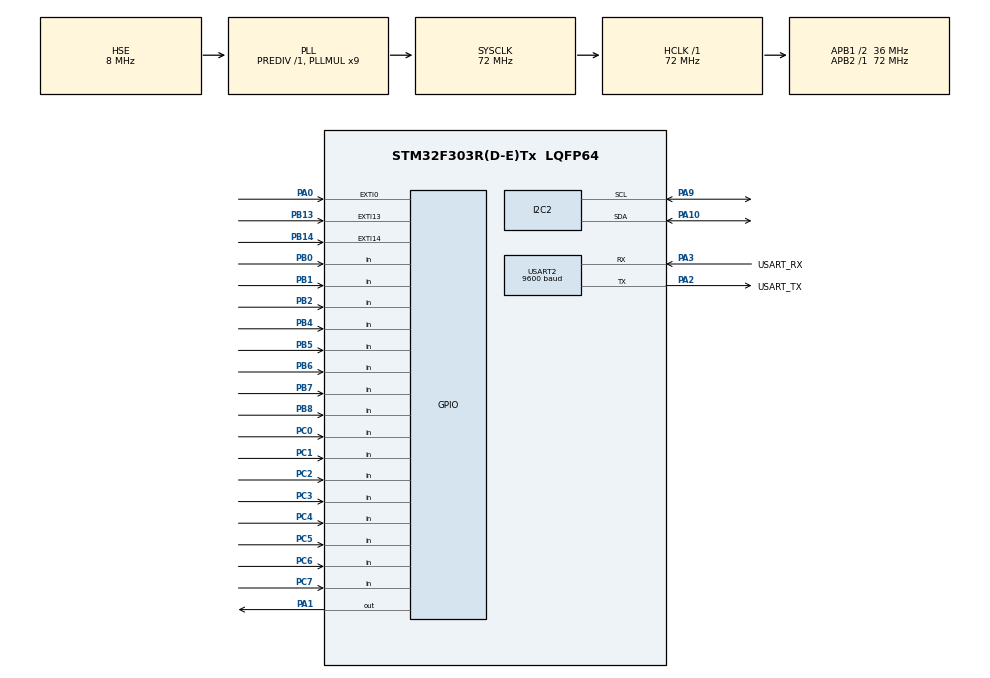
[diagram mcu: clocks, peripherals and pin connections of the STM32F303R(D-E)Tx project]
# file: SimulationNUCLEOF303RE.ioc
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Mcu.Family=STM32F3
Mcu.Name=STM32F303R(D-E)Tx
Mcu.Package=LQFP64
NVIC.EXTI0_IRQn=true\:0\:0\:false\:false\:true\:true\:true\:true
NVIC.PriorityGroup=NVIC_PRIORITYGROUP_4
PA0.Signal=GPXTI0
PA1.Signal=GPIO_Output
PA10.Mode=I2C
PA10.Signal=I2C2_SDA
PA13.GPIO_Label=TMS
PA13.Signal=SYS_JTMS-SWDIO
PA14.GPIO_Label=TCK
PA14.Signal=SYS_JTCK-SWCLK
PA2.GPIO_Label=USART_TX
PA2.GPIO_Mode=GPIO_MODE_AF_PP
PA2.GPIO_ModeDefaultPP=GPIO_MODE_AF_PP
PA2.GPIO_PuPd=GPIO_NOPULL
PA2.GPIO_Speed=GPIO_SPEED_FREQ_LOW
PA2.Mode=Asynchronous
PA2.Signal=USART2_TX
PA3.GPIO_Label=USART_RX
PA3.GPIO_Mode=GPIO_MODE_AF_PP
PA3.GPIO_PuPd=GPIO_NOPULL
PA3.GPIO_Speed=GPIO_SPEED_FREQ_LOW
PA3.Mode=Asynchronous
PA3.Signal=USART2_RX
PA9.Mode=I2C
PA9.Signal=I2C2_SCL
PB0.GPIO_PuPd=GPIO_PULLDOWN
PB0.Signal=GPIO_Input
PB1.GPIO_PuPd=GPIO_PULLDOWN
PB1.Signal=GPIO_Input
PB13.Signal=GPXTI13
PB14.Signal=GPXTI14
PB2.GPIO_PuPd=GPIO_PULLDOWN
PB2.Signal=GPIO_Input
PB3.GPIO_Label=SWO
PB3.Signal=SYS_JTDO-TRACESWO
PB4.GPIO_PuPd=GPIO_PULLDOWN
PB4.Signal=GPIO_Input
PB5.GPIO_PuPd=GPIO_PULLDOWN
PB5.Signal=GPIO_Input
PB6.GPIO_PuPd=GPIO_PULLDOWN
PB6.Signal=GPIO_Input
PB7.GPIO_PuPd=GPIO_PULLDOWN
PB7.Signal=GPIO_Input
PB8.GPIO_PuPd=GPIO_PULLDOWN
PB8.Signal=GPIO_Input
PC0.Signal=GPIO_Input
PC1.Signal=GPIO_Input
PC14-OSC32_IN.Signal=RCC_OSC32_IN
PC15-OSC32_OUT.Signal=RCC_OSC32_OUT
PC2.Signal=GPIO_Input
PC3.Signal=GPIO_Input
PC4.Signal=GPIO_Input
PC5.Signal=GPIO_Input
PC6.Signal=GPIO_Input
PC7.Signal=GPIO_Input
PF0-OSC_IN.Mode=HSE-External-Oscillator
PF0-OSC_IN.Signal=RCC_OSC_IN
PF1-OSC_OUT.Mode=HSE-External-Oscillator
PF1-OSC_OUT.Signal=RCC_OSC_OUT
ProjectManager.HeapSize=0x200
ProjectManager.StackSize=0x400
ProjectManager.TargetToolchain=STM32CubeIDE
RCC.AHBFreq_Value=72000000
RCC.APB1CLKDivider=RCC_HCLK_DIV2
RCC.APB1Freq_Value=36000000
RCC.APB1TimFreq_Value=72000000
RCC.APB2Freq_Value=72000000
RCC.APB2TimFreq_Value=72000000
RCC.CortexFreq_Value=72000000
RCC.HCLKFreq_Value=72000000
RCC.HSE_VALUE=8000000
RCC.HSI_VALUE=8000000
RCC.LSE_VALUE=32768
RCC.PLLM=8
RCC.PLLMUL=RCC_PLL_MUL9
RCC.PLLN=336
RCC.PLLP=RCC_PLLP_DIV4
RCC.PLLQ=7
RCC.PLLSourceVirtual=RCC_PLLSOURCE_HSE
RCC.RCC_PLLsource_Clock_Source_FROM_HSE=RCC_HSE_PREDIV_DIV2
RCC.SYSCLKFreq_VALUE=72000000
RCC.SYSCLKSourceVirtual=RCC_SYSCLKSOURCE_PLLCLK
RCC.USBFreq_Value=72000000
USART2.BaudRate=9600
USART2.VirtualMode-Asynchronous=VM_ASYNC
board=NUCLEO-F303RE

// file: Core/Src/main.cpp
/* USER CODE BEGIN Header */
/**
  ******************************************************************************
  * @file           : main.c
  * @brief          : Main program body
  ******************************************************************************
  * @attention
  *
  * Copyright (c) 2022 STMicroelectronics.
  * All rights reserved.
  *
  * This software is licensed under terms that can be found in the LICENSE file
  * in the root directory of this software component.
  * If no LICENSE file comes with this software, it is provided AS-IS.
  *
  ******************************************************************************
  */
/* USER CODE END Header */
#include "main.h"
#include <string>

 I2C_HandleTypeDef hi2c2;

UART_HandleTypeDef huart2;

void SystemClock_Config(void);
static void MX_GPIO_Init(void);
static void MX_I2C2_Init(void);
static void MX_USART2_UART_Init(void);

/* USER CODE BEGIN 0 */
char l[8];
int L[9]={GPIO_PIN_7, GPIO_PIN_0, GPIO_PIN_1, GPIO_PIN_2, GPIO_PIN_3, GPIO_PIN_4, GPIO_PIN_5, GPIO_PIN_6, GPIO_PIN_7};
int C[8][8];
int c[8]={GPIO_PIN_0, GPIO_PIN_1, GPIO_PIN_2, GPIO_PIN_4, GPIO_PIN_5, GPIO_PIN_6, GPIO_PIN_7, GPIO_PIN_8};

/* USER CODE END 0 */
int main()
{

  /* MCU Configuration--------------------------------------------------------*/

  /* Reset of all peripherals, Initializes the Flash interface and the Systick. */
  HAL_Init();

  /* Configure the system clock */
  SystemClock_Config();

  /* Initialize all configured peripherals */
  MX_GPIO_Init();
  MX_I2C2_Init();
  MX_USART2_UART_Init();

  /* Infinite loop */
  /* USER CODE BEGIN WHILE */
  while (1)
  {
	  GPIO_InitTypeDef GPIO_InitStruct = { 0 };

		for(int a = 0; a < 8; a++) {

			GPIO_InitStruct.Pin = L[a];
			GPIO_InitStruct.Mode = GPIO_MODE_INPUT;
			GPIO_InitStruct.Pull = GPIO_NOPULL;
			HAL_GPIO_WritePin(GPIOC, L[a], GPIO_PIN_RESET);
			HAL_GPIO_Init(GPIOC, &GPIO_InitStruct);

			GPIO_InitStruct.Pin = L[a+1];
			GPIO_InitStruct.Mode = GPIO_MODE_OUTPUT_PP;
			HAL_GPIO_Init(GPIOC, &GPIO_InitStruct);
			HAL_GPIO_WritePin(GPIOC, L[a+1], GPIO_PIN_SET);

	  				HAL_Delay(1);

	  				for(int i = 7; i >=0; i--) {
	  					int aux = 1;
	  					  	  for(int k = 0; k < i; k++) {
	  					  	  	aux = 2*aux;
	  					  	  }
	  					  	  	C[a][i] = (0b00000001 * aux) * HAL_GPIO_ReadPin(GPIOB, c[i]);
	  				}
		}
	  					  	    l[0] = C[0][0] + C[0][1] + C[0][2] + C[0][3] + C[0][4] + C[0][5] + C[0][6] + C[0][7];
	  					  	  	l[1] = C[1][0] + C[1][1] + C[1][2] + C[1][3] + C[1][4] + C[1][5] + C[1][6] + C[1][7];
	  					  	  	l[2] = C[2][0] + C[2][1] + C[2][2] + C[2][3] + C[2][4] + C[2][5] + C[2][6] + C[2][7];
	  					  	  	l[3] = C[3][0] + C[3][1] + C[3][2] + C[3][3] + C[3][4] + C[3][5] + C[3][6] + C[3][7];
	  					  	  	l[4] = C[4][0] + C[4][1] + C[4][2] + C[4][3] + C[4][4] + C[4][5] + C[4][6] + C[4][7];
	  					  	  	l[5] = C[5][0] + C[5][1] + C[5][2] + C[5][3] + C[5][4] + C[5][5] + C[5][6] + C[5][7];
	  					  	  	l[6] = C[6][0] + C[6][1] + C[6][2] + C[6][3] + C[6][4] + C[6][5] + C[6][6] + C[6][7];
	  					  	  	l[7] = C[7][0] + C[7][1] + C[7][2] + C[7][3] + C[7][4] + C[7][5] + C[7][6] + C[7][7];

	  					  	  	HAL_Delay(1000);
	  					  	    HAL_UART_Transmit(&huart2, (uint8_t*)l, 8, 100);
		//varredura();
		//switch (cont) {
		//case 0:
			//find_out(C, c);
		//case 1:
			//find_in(C, c);
			//find_out(C, c);
		//case 2:
			//find_in(C, c);
    /* USER CODE END WHILE */

  }
}

void SystemClock_Config(void)
{
  RCC_OscInitTypeDef RCC_OscInitStruct = {0};
  RCC_ClkInitTypeDef RCC_ClkInitStruct = {0};
  RCC_PeriphCLKInitTypeDef PeriphClkInit = {0};

  /** Initializes the RCC Oscillators according to the specified parameters
  * in the RCC_OscInitTypeDef structure.
  */
  RCC_OscInitStruct.OscillatorType = RCC_OSCILLATORTYPE_HSI|RCC_OSCILLATORTYPE_HSE;
  RCC_OscInitStruct.HSEState = RCC_HSE_ON;
  RCC_OscInitStruct.HSIState = RCC_HSI_ON;
  RCC_OscInitStruct.HSICalibrationValue = RCC_HSICALIBRATION_DEFAULT;
  RCC_OscInitStruct.PLL.PLLState = RCC_PLL_ON;
  RCC_OscInitStruct.PLL.PLLSource = RCC_PLLSOURCE_HSE;
  RCC_OscInitStruct.PLL.PLLMUL = RCC_PLL_MUL9;
  RCC_OscInitStruct.PLL.PREDIV = RCC_PREDIV_DIV1;
  if (HAL_RCC_OscConfig(&RCC_OscInitStruct) != HAL_OK)
  {
    Error_Handler();
  }

  /** Initializes the CPU, AHB and APB buses clocks
  */
  RCC_ClkInitStruct.ClockType = RCC_CLOCKTYPE_HCLK|RCC_CLOCKTYPE_SYSCLK
                              |RCC_CLOCKTYPE_PCLK1|RCC_CLOCKTYPE_PCLK2;
  RCC_ClkInitStruct.SYSCLKSource = RCC_SYSCLKSOURCE_PLLCLK;
  RCC_ClkInitStruct.AHBCLKDivider = RCC_SYSCLK_DIV1;
  RCC_ClkInitStruct.APB1CLKDivider = RCC_HCLK_DIV2;
  RCC_ClkInitStruct.APB2CLKDivider = RCC_HCLK_DIV1;

  if (HAL_RCC_ClockConfig(&RCC_ClkInitStruct, FLASH_LATENCY_2) != HAL_OK)
  {
    Error_Handler();
  }
  PeriphClkInit.PeriphClockSelection = RCC_PERIPHCLK_USART2|RCC_PERIPHCLK_I2C2;
  PeriphClkInit.Usart2ClockSelection = RCC_USART2CLKSOURCE_PCLK1;
  PeriphClkInit.I2c2ClockSelection = RCC_I2C2CLKSOURCE_HSI;
  if (HAL_RCCEx_PeriphCLKConfig(&PeriphClkInit) != HAL_OK)
  {
    Error_Handler();
  }
}

static void MX_I2C2_Init(void)
{

  hi2c2.Instance = I2C2;
  hi2c2.Init.Timing = 0x2000090E;
  hi2c2.Init.OwnAddress1 = 0;
  hi2c2.Init.AddressingMode = I2C_ADDRESSINGMODE_7BIT;
  hi2c2.Init.DualAddressMode = I2C_DUALADDRESS_DISABLE;
  hi2c2.Init.OwnAddress2 = 0;
  hi2c2.Init.OwnAddress2Masks = I2C_OA2_NOMASK;
  hi2c2.Init.GeneralCallMode = I2C_GENERALCALL_DISABLE;
  hi2c2.Init.NoStretchMode = I2C_NOSTRETCH_DISABLE;
  if (HAL_I2C_Init(&hi2c2) != HAL_OK)
  {
    Error_Handler();
  }

  /** Configure Analogue filter
  */
  if (HAL_I2CEx_ConfigAnalogFilter(&hi2c2, I2C_ANALOGFILTER_ENABLE) != HAL_OK)
  {
    Error_Handler();
  }

  /** Configure Digital filter
  */
  if (HAL_I2CEx_ConfigDigitalFilter(&hi2c2, 0) != HAL_OK)
  {
    Error_Handler();
  }

}

static void MX_USART2_UART_Init(void)
{

  huart2.Instance = USART2;
  huart2.Init.BaudRate = 9600;
  huart2.Init.WordLength = UART_WORDLENGTH_8B;
  huart2.Init.StopBits = UART_STOPBITS_1;
  huart2.Init.Parity = UART_PARITY_NONE;
  huart2.Init.Mode = UART_MODE_TX_RX;
  huart2.Init.HwFlowCtl = UART_HWCONTROL_NONE;
  huart2.Init.OverSampling = UART_OVERSAMPLING_16;
  huart2.Init.OneBitSampling = UART_ONE_BIT_SAMPLE_DISABLE;
  huart2.AdvancedInit.AdvFeatureInit = UART_ADVFEATURE_NO_INIT;
  if (HAL_UART_Init(&huart2) != HAL_OK)
  {
    Error_Handler();
  }

}

static void MX_GPIO_Init(void)
{
  GPIO_InitTypeDef GPIO_InitStruct = {0};

  /* GPIO Ports Clock Enable */
  __HAL_RCC_GPIOC_CLK_ENABLE();
  __HAL_RCC_GPIOF_CLK_ENABLE();
  __HAL_RCC_GPIOA_CLK_ENABLE();
  __HAL_RCC_GPIOB_CLK_ENABLE();

  /*Configure GPIO pin Output Level */
  HAL_GPIO_WritePin(GPIOA, GPIO_PIN_1, GPIO_PIN_RESET);

  /*Configure GPIO pins : PC0 PC1 PC2 PC3
                           PC4 PC5 PC6 PC7 */
  GPIO_InitStruct.Pin = GPIO_PIN_0|GPIO_PIN_1|GPIO_PIN_2|GPIO_PIN_3
                          |GPIO_PIN_4|GPIO_PIN_5|GPIO_PIN_6|GPIO_PIN_7;
  GPIO_InitStruct.Mode = GPIO_MODE_INPUT;
  GPIO_InitStruct.Pull = GPIO_NOPULL;
  HAL_GPIO_Init(GPIOC, &GPIO_InitStruct);

  /*Configure GPIO pin : PA0 */
  GPIO_InitStruct.Pin = GPIO_PIN_0;
  GPIO_InitStruct.Mode = GPIO_MODE_IT_RISING;
  GPIO_InitStruct.Pull = GPIO_NOPULL;
  HAL_GPIO_Init(GPIOA, &GPIO_InitStruct);

  /*Configure GPIO pin : PA1 */
  GPIO_InitStruct.Pin = GPIO_PIN_1;
  GPIO_InitStruct.Mode = GPIO_MODE_OUTPUT_PP;
  GPIO_InitStruct.Pull = GPIO_NOPULL;
  GPIO_InitStruct.Speed = GPIO_SPEED_FREQ_LOW;
  HAL_GPIO_Init(GPIOA, &GPIO_InitStruct);

  /*Configure GPIO pins : PB0 PB1 PB2 PB4
                           PB5 PB6 PB7 PB8 */
  GPIO_InitStruct.Pin = GPIO_PIN_0|GPIO_PIN_1|GPIO_PIN_2|GPIO_PIN_4
                          |GPIO_PIN_5|GPIO_PIN_6|GPIO_PIN_7|GPIO_PIN_8;
  GPIO_InitStruct.Mode = GPIO_MODE_INPUT;
  GPIO_InitStruct.Pull = GPIO_PULLDOWN;
  HAL_GPIO_Init(GPIOB, &GPIO_InitStruct);

  /*Configure GPIO pins : PB13 PB14 */
  GPIO_InitStruct.Pin = GPIO_PIN_13|GPIO_PIN_14;
  GPIO_InitStruct.Mode = GPIO_MODE_IT_RISING;
  GPIO_InitStruct.Pull = GPIO_NOPULL;
  HAL_GPIO_Init(GPIOB, &GPIO_InitStruct);

  /* EXTI interrupt init*/
  HAL_NVIC_SetPriority(EXTI0_IRQn, 0, 0);
  HAL_NVIC_EnableIRQ(EXTI0_IRQn);

}

void Error_Handler(void)
{
  __disable_irq();
  while (1)
  {
  }
}
